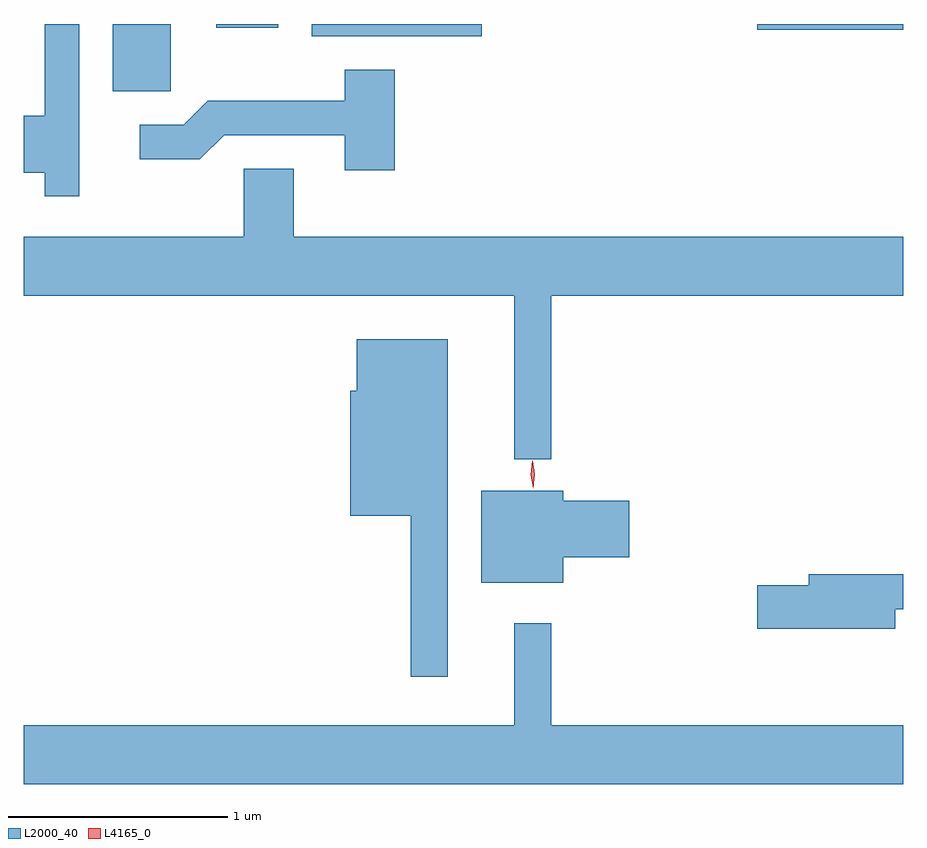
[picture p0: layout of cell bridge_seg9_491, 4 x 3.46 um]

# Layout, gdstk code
import gdstk
lib = gdstk.Library(unit=1e-6, precision=1e-09)
def R(c, l, rs):  # rectangles x0, y0, x1, y1
    for r in rs: c.add(gdstk.rectangle(r[:2], r[2:], *l))
def P(c, l, *ps):  # polygons
    for p in ps: c.add(gdstk.Polygon(p, *l))
L2000_40 = (2000, 40)
L4165_0 = (4165, 0)

bridge_seg9_491 = lib.new_cell('bridge_seg9_491')
R(bridge_seg9_491, L2000_40, [(460.236,1977.206,460.499,1977.512), (461.141,1977.456,461.914,1977.512), (463.166,1977.486,463.831,1977.512), (460.706,1977.496,460.989,1977.512)])
P(bridge_seg9_491, L2000_40, [(460.084,1977.512),(459.926,1977.512),(459.926,1977.094),(459.831,1977.094),(459.831,1976.836),(459.926,1976.836),(459.926,1976.728),(460.084,1976.728)],
  [(461.519,1977.304),(461.291,1977.304),(461.291,1977.164),(460.669,1977.164),(460.559,1977.054),(460.358,1977.054),(460.358,1976.896),(460.632,1976.896),(460.742,1977.006),(461.291,1977.006),(461.291,1976.846),(461.519,1976.846)],
  [(462.229,1976.276),(463.831,1976.276),(463.831,1976.544),(461.059,1976.544),(461.059,1976.854),(460.831,1976.854),(460.831,1976.544),(459.831,1976.544),(459.831,1976.276),(462.061,1976.276),(462.061,1975.533),(462.229,1975.533)],
  [(461.759,1976.079),(461.346,1976.079),(461.346,1975.844),(461.316,1975.844),(461.316,1975.276),(461.591,1975.276),(461.591,1974.543),(461.759,1974.543)],
  [(462.284,1975.086),(462.584,1975.086),(462.584,1975.344),(462.284,1975.344),(462.284,1975.389),(461.911,1975.389),(461.911,1974.971),(462.284,1974.971)],
  [(463.794,1974.851),(463.831,1974.851),(463.831,1975.009),(463.401,1975.009),(463.401,1974.959),(463.166,1974.959),(463.166,1974.761),(463.794,1974.761)],
  [(463.831,1974.324),(462.229,1974.324),(462.229,1974.788),(462.061,1974.788),(462.061,1974.324),(459.831,1974.324),(459.831,1974.056),(463.831,1974.056)])
P(bridge_seg9_491, L4165_0, [(462.148,1975.4),(462.148,1975.401),(462.136,1975.463),(462.144,1975.526),(462.145,1975.527),(462.146,1975.526),(462.156,1975.464),(462.148,1975.401)])

lib.write_gds('bridge_seg9_491.gds')
